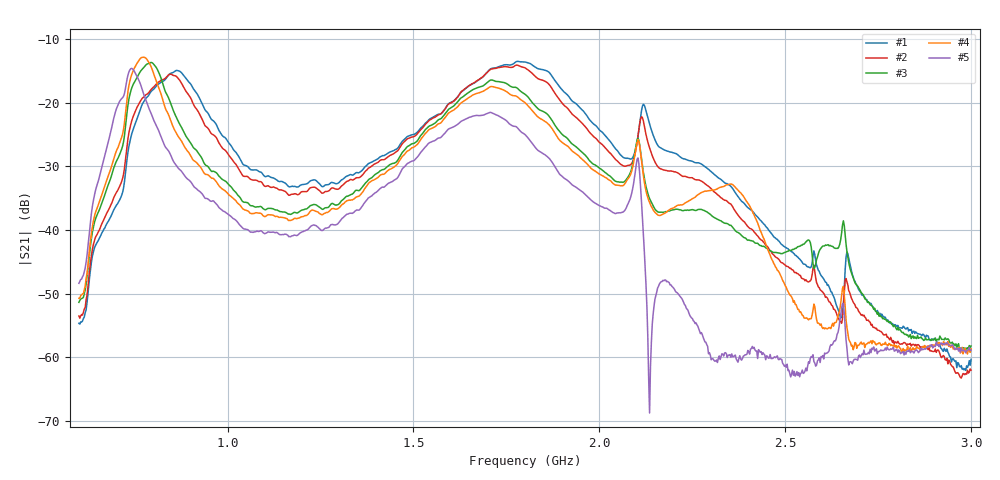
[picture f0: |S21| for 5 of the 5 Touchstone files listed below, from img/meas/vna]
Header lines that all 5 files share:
#  HZ  S  RI  R  50.00
! Rohde & Schwarz ZVB8 2Ports - Version 2.81 - 1145.1010k08 SN: 100113
! Measurements: S11 S21 S12 S22
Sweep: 600 MHz to 3 GHz
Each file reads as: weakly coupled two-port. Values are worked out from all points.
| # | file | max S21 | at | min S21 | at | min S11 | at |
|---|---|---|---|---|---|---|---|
| 1 | wonderant_f_5_0_0.s2p | -13.51 dB | 1.78 GHz | -62.0 dB | 2.986 GHz | -12.9 dB | 1.813 GHz |
| 2 | wonderant_f_9_0_0.s2p | -14.11 dB | 1.777 GHz | -63.2 dB | 2.974 GHz | -12.6 dB | 763.4 MHz |
| 3 | wonderant_f_f_8_0.s2p | -13.70 dB | 794.6 MHz | -58.8 dB | 2.993 GHz | -12.3 dB | 746.5 MHz |
| 4 | wonderant_f_f_c_0.s2p | -12.87 dB | 773 MHz | -59.4 dB | 2.99 GHz | -11.8 dB | 746.5 MHz |
| 5 | wonderant_f_f_f_b.s2p | -14.62 dB | 741.7 MHz | -68.7 dB | 2.135 GHz | -13.0 dB | 751.4 MHz |
